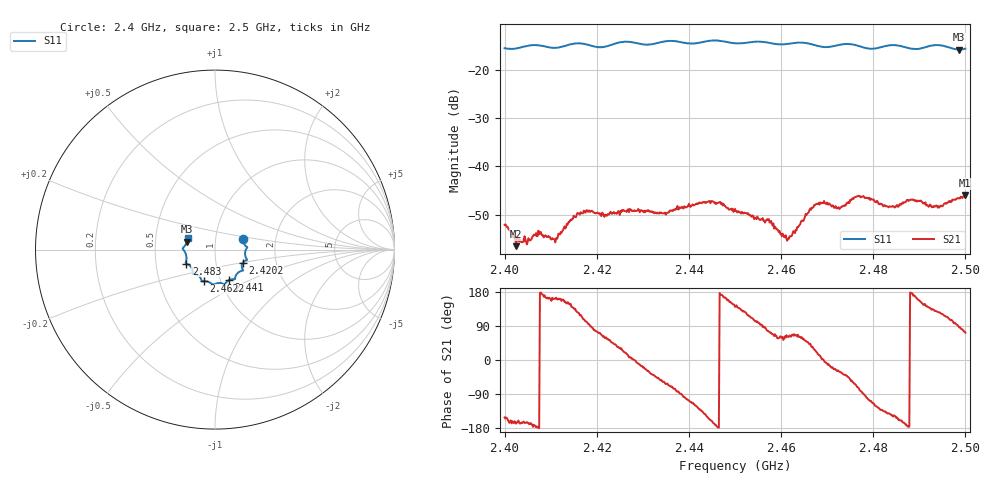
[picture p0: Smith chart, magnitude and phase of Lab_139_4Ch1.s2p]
# Hz S RI R 50
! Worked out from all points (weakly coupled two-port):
!   601 points, 2.4 GHz to 2.5 GHz, reference 50 ohm
!   highest |S21| = -45.93 dB at 2.4998 GHz (marker M1); lowest = -56.5 dB at 2.4025 GHz (marker M2)
!   lowest |S11| = -15.8 dB at 2.4987 GHz (marker M3), VSWR 1.39, Z = 36.4 + j3.33 ohm
!   |S11| at or under -10 dB: start of sweep to end of sweep
!   S12 and S22 are empty: the file has one direction only
!   S11 on the Smith chart (normalised r, x): 2.4 GHz: 1.36, +0.17; 2.4202 GHz: 1.35, -0.20; 2.441 GHz: 1.09, -0.39; 2.4622 GHz: 0.83, -0.30; 2.483 GHz: 0.72, -0.12; 2.5 GHz: 0.73, +0.09
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2.4e9  0.1561 0.0599  -0.00219 -0.00119  0 0  0 0
2.4025e9  0.1632 0.0308  -0.00147 -0.000315  0 0  0 0
2.407833e9  0.1775 0.00902  -0.0021 7.58e-05  0 0  0 0
2.411e9  0.1672 -0.0191  -0.00156 0.000514  0 0  0 0
2.416667e9  0.1777 -0.0583  -0.00143 0.00296  0 0  0 0
2.420167e9  0.1557 -0.072  0.000936 0.00319  0 0  0 0
2.433333e9  0.1129 -0.1525  0.00225 -0.0024  0 0  0 0
2.441e9  0.0766 -0.1704  -0.00173 -0.00355  0 0  0 0
2.444833e9  0.0547 -0.1928  -0.00411 -0.00153  0 0  0 0
2.45e9  0.0263 -0.1861  -0.0028 0.00232  0 0  0 0
2.462167e9  -0.0633 -0.1766  0.000902 0.00167  0 0  0 0
2.466667e9  -0.0765 -0.1668  0.00309 0.00211  0 0  0 0
2.469e9  -0.088 -0.1485  0.00421 0.000169  0 0  0 0
2.4725e9  -0.1183 -0.136  0.00327 -0.00191  0 0  0 0
2.476667e9  -0.1246 -0.1259  0.00151 -0.00471  0 0  0 0
2.483e9  -0.1593 -0.078  -0.00298 -0.00247  0 0  0 0
2.483333e9  -0.161 -0.0774  -0.00292 -0.00241  0 0  0 0
2.4885e9  -0.1592 -0.0412  -0.00454 0.000323  0 0  0 0
2.4945e9  -0.1791 0.0085  -0.00222 0.00314  0 0  0 0
2.498667e9  -0.1554 0.0446  0.000309 0.00468  0 0  0 0
2.499833e9  -0.1529 0.0611  0.0013 0.00488  0 0  0 0
2.5e9  -0.1529 0.0631  0.00149 0.00457  0 0  0 0
